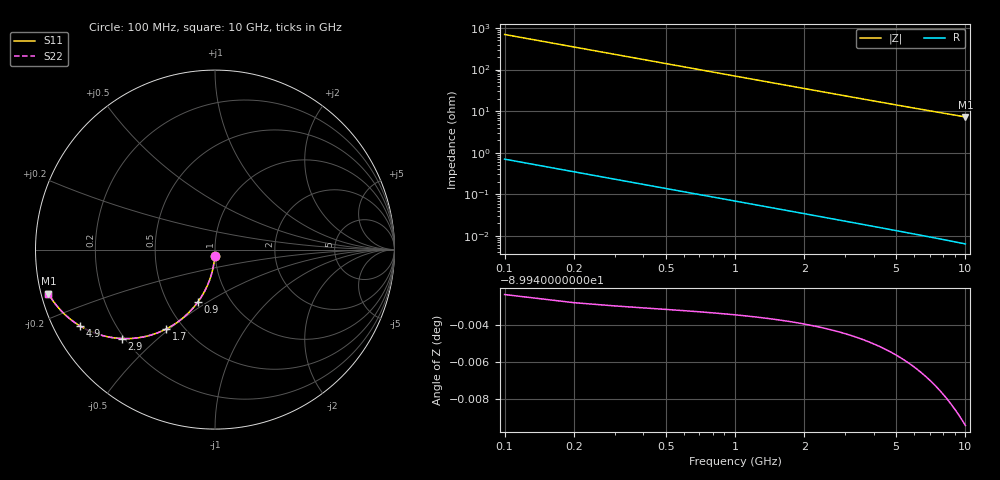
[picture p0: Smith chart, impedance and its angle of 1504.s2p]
# Hz S RI R 50.00
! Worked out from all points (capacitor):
!   100 points, 100 MHz to 10 GHz, reference 50 ohm
!   read as one part in shunt: C = 2.28 pF near 100 MHz
!   lowest |Z| = 7.26 ohm at 10 GHz (marker M1)
!   S11 on the Smith chart (normalised r, x): 100 MHz: 0.99, -0.07; 900 MHz: 0.71, -0.45; 1.7 GHz: 0.40, -0.49; 2.9 GHz: 0.19, -0.39; 4.9 GHz: 0.08, -0.26; 10 GHz: 0.02, -0.13
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1e8  -0.00129 -0.0357  0.9986 -0.0359  0.9986 -0.0359  -0.00129 -0.0357
2e8  -0.00516 -0.0711  0.9948 -0.0716  0.9948 -0.0716  -0.00516 -0.0711
3e8  -0.0115 -0.106  0.9884 -0.1067  0.9884 -0.1067  -0.0115 -0.106
4e8  -0.0203 -0.1401  0.9797 -0.141  0.9797 -0.141  -0.0203 -0.1401
5e8  -0.0313 -0.1731  0.9687 -0.1743  0.9687 -0.1743  -0.0313 -0.1731
6e8  -0.0444 -0.2049  0.9555 -0.2063  0.9555 -0.2063  -0.0444 -0.2049
7e8  -0.0595 -0.2352  0.9405 -0.2369  0.9405 -0.2369  -0.0595 -0.2352
9e8  -0.0945 -0.291  0.9054 -0.2932  0.9054 -0.2932  -0.0945 -0.291
1.1e9  -0.1348 -0.3397  0.8651 -0.3424  0.8651 -0.3424  -0.1348 -0.3397
1.3e9  -0.1786 -0.381  0.8213 -0.3841  0.8213 -0.3841  -0.1786 -0.381
1.7e9  -0.2709 -0.4419  0.729 -0.446  0.729 -0.446  -0.2709 -0.4419
1.8e9  -0.294 -0.4529  0.7059 -0.4573  0.7059 -0.4573  -0.294 -0.4529
2.3e9  -0.4045 -0.4875  0.5955 -0.4931  0.5955 -0.4931  -0.4045 -0.4875
2.9e9  -0.5189 -0.4956  0.481 -0.5027  0.481 -0.5027  -0.5189 -0.4956
3.4e9  -0.597 -0.4859  0.4029 -0.4941  0.4029 -0.4941  -0.597 -0.4859
4.1e9  -0.6828 -0.4599  0.3171 -0.4699  0.3171 -0.4699  -0.6828 -0.4599
4.9e9  -0.7545 -0.4239  0.2454 -0.4359  0.2454 -0.4359  -0.7545 -0.4239
5.1e9  -0.769 -0.4147  0.2309 -0.4272  0.2309 -0.4272  -0.769 -0.4147
5.9e9  -0.8167 -0.3791  0.1832 -0.3936  0.1832 -0.3936  -0.8167 -0.3791
6.7e9  -0.8518 -0.3464  0.148 -0.363  0.148 -0.363  -0.8518 -0.3464
8.4e9  -0.9005 -0.2881  0.0992 -0.3091  0.0992 -0.3091  -0.9005 -0.2881
1e10  -0.9279 -0.2451  0.0717 -0.2704  0.0717 -0.2704  -0.9279 -0.2451
